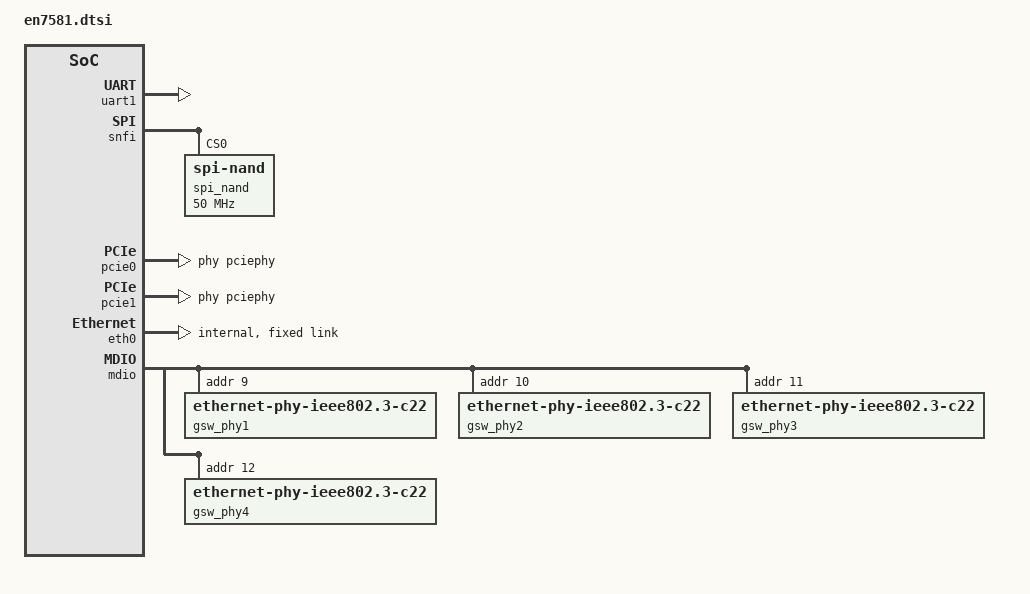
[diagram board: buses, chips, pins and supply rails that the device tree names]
// SPDX-License-Identifier: (GPL-2.0-only OR BSD-2-Clause)

#include <dt-bindings/interrupt-controller/irq.h>
#include <dt-bindings/interrupt-controller/arm-gic.h>
#include <dt-bindings/gpio/gpio.h>
#include <dt-bindings/clock/en7523-clk.h>
#include <dt-bindings/reset/airoha,en7581-reset.h>

/ {
	interrupt-parent = <&gic>;
	#address-cells = <2>;
	#size-cells = <2>;

	reserved-memory {
		#address-cells = <2>;
		#size-cells = <2>;
		ranges;

		npu-binary@84000000 {
			no-map;
			reg = <0x0 0x84000000 0x0 0xa00000>;
		};

		npu-flag@84b0000 {
			no-map;
			reg = <0x0 0x84b00000 0x0 0x100000>;
		};

		npu-pkt@85000000 {
			no-map;
			reg = <0x0 0x85000000 0x0 0x1a00000>;
		};

		npu-phyaddr@86b00000 {
			no-map;
			reg = <0x0 0x86b00000 0x0 0x100000>;
		};

		npu-rxdesc@86d00000 {
			no-map;
			reg = <0x0 0x86d00000 0x0 0x100000>;
		};
	};

	psci {
		compatible = "arm,psci-1.0";
		method = "smc";
	};

	cpus {
		#address-cells = <1>;
		#size-cells = <0>;

		cpu-map {
			cluster0 {
				core0 {
					cpu = <&cpu0>;
				};

				core1 {
					cpu = <&cpu1>;
				};

				core2 {
					cpu = <&cpu2>;
				};

				core3 {
					cpu = <&cpu3>;
				};
			};
		};

		cpu0: cpu@0 {
			device_type = "cpu";
			compatible = "arm,cortex-a53";
			reg = <0x0>;
			enable-method = "psci";
			clock-frequency = <80000000>;
			next-level-cache = <&l2>;
		};

		cpu1: cpu@1 {
			device_type = "cpu";
			compatible = "arm,cortex-a53";
			reg = <0x1>;
			enable-method = "psci";
			clock-frequency = <80000000>;
			next-level-cache = <&l2>;
		};

		cpu2: cpu@2 {
			device_type = "cpu";
			compatible = "arm,cortex-a53";
			reg = <0x2>;
			enable-method = "psci";
			clock-frequency = <80000000>;
			next-level-cache = <&l2>;
		};

		cpu3: cpu@3 {
			device_type = "cpu";
			compatible = "arm,cortex-a53";
			reg = <0x3>;
			enable-method = "psci";
			clock-frequency = <80000000>;
			next-level-cache = <&l2>;
		};

		l2: l2-cache {
			compatible = "cache";
			cache-size = <0x80000>;
			cache-line-size = <64>;
			cache-level = <2>;
			cache-unified;
		};
	};

	timer {
		compatible = "arm,armv8-timer";
		interrupt-parent = <&gic>;
		interrupts = <GIC_PPI 13 IRQ_TYPE_LEVEL_LOW>,
			     <GIC_PPI 14 IRQ_TYPE_LEVEL_LOW>,
			     <GIC_PPI 11 IRQ_TYPE_LEVEL_LOW>,
			     <GIC_PPI 10 IRQ_TYPE_LEVEL_LOW>;
	};

	soc {
		compatible = "simple-bus";
		#address-cells = <2>;
		#size-cells = <2>;
		ranges;

		gic: interrupt-controller@9000000 {
			compatible = "arm,gic-v3";
			interrupt-controller;
			#interrupt-cells = <3>;
			#address-cells = <1>;
			#size-cells = <1>;
			reg = <0x0 0x09000000 0x0 0x20000>,
			      <0x0 0x09080000 0x0 0x80000>,
			      <0x0 0x09400000 0x0 0x2000>,
			      <0x0 0x09500000 0x0 0x2000>,
			      <0x0 0x09600000 0x0 0x20000>;
			interrupts = <GIC_PPI 9 IRQ_TYPE_LEVEL_LOW>;
		};

		uart1: serial@1fbf0000 {
			compatible = "airoha,en7523-uart";
			reg = <0x0 0x1fbf0000 0x0 0x30>;
			reg-io-width = <4>;
			reg-shift = <2>;
			interrupts = <GIC_SPI 18 IRQ_TYPE_LEVEL_HIGH>;
			clock-frequency = <1843200>;
		};

		uart2: serial@1fbf0300 {
			compatible = "airoha,en7523-uart";
			reg = <0x0 0x1fbf0300 0x0 0x30>;
			reg-io-width = <4>;
			reg-shift = <2>;
			interrupts = <GIC_SPI 32 IRQ_TYPE_LEVEL_HIGH>;
			clock-frequency = <7372800>;

			status = "disabled";
		};

		hsuart3: serial@1fbe1000 {
			compatible = "airoha,en7523-uart";
			reg = <0x0 0x1fbe1000 0x0 0x40>;
			reg-io-width = <4>;
			reg-shift = <2>;
			interrupts = <GIC_SPI 54 IRQ_TYPE_LEVEL_HIGH>;
			clock-frequency = <7372800>;

			status = "disabled";
		};

		uart4: serial@1fbf0600 {
			compatible = "airoha,en7523-uart";
			reg = <0x0 0x1fbf0600 0x0 0x30>;
			reg-io-width = <4>;
			reg-shift = <2>;
			interrupts = <GIC_SPI 61 IRQ_TYPE_LEVEL_HIGH>;
			clock-frequency = <7372800>;

			status = "disabled";
		};

		uart5: serial@1fbf0700 {
			compatible = "airoha,en7523-uart";
			reg = <0x0 0x1fbf0700 0x0 0x30>;
			reg-io-width = <4>;
			reg-shift = <2>;
			interrupts = <GIC_SPI 18 IRQ_TYPE_LEVEL_HIGH>;
			clock-frequency = <7372800>;

			status = "disabled";
		};

		scuclk: clock-controller@1fa20000 {
			compatible = "airoha,en7581-scu";
			reg = <0x0 0x1fa201b4 0x0 0x5c>,
			      <0x0 0x1fb00000 0x0 0x1000>,
			      <0x0 0x1fbe3400 0x0 0xfc>;
			#clock-cells = <1>;
			#reset-cells = <1>;
		};

		pio: pinctrl {
			compatible = "airoha,en7581-pinctrl";
			reg = <0x0 0x1fa20214 0x0 0x1c>,
			      <0x0 0x1fa2001c 0x0 0x50>;
			reg-names = "mux", "conf";
		};

		i2cclock: i2cclock@0 {
			#clock-cells = <0>;
			compatible = "fixed-clock";

			/* 20 MHz */
			clock-frequency = <20000000>;
		};

		i2c0: i2c0@1fbf8000 {
			compatible = "mediatek,mt7621-i2c";
			reg = <0x0 0x1fbf8000 0x0 0x100>;

			clocks = <&i2cclock>;

			/* 400 kHz */
			clock-frequency = <400000>;
			resets = <&scuclk EN7581_I2C_MASTER_RST>;
			reset-names = "i2c0";

			#address-cells = <1>;
			#size-cells = <0>;

			status = "disable";
		};

		i2c1: i2c1@1fbf8100 {
			compatible = "mediatek,mt7621-i2c";
			reg = <0x0 0x1fbf8100 0x0 0x100>;

			clocks = <&i2cclock>;

			/* 400 kHz */
			clock-frequency = <400000>;
			resets = <&scuclk EN7581_I2C2_RST>;
			reset-names = "i2c1";

			#address-cells = <1>;
			#size-cells = <0>;

			status = "disable";
		};

		snfi: spi@1fa10000 {
			compatible = "airoha,en7581-snand";
			reg = <0x0 0x1fa10000 0x0 0x140>,
			      <0x0 0x1fa11000 0x0 0x160>;

			clocks = <&scuclk EN7523_CLK_SPI>;
			clock-names = "spi";

			#address-cells = <1>;
			#size-cells = <0>;
			spi_nand: nand@0 {
				compatible = "spi-nand";
				reg = <0>;
				spi-max-frequency = <50000000>;
				spi-tx-bus-width = <1>;
				spi-rx-bus-width = <2>;
				airoha,bmt;
				partitions {
					compatible =
						"airoha,airoha-partitions";
				};
			};
		};

		gpio0: gpio@1fbf0200 {
			compatible = "airoha,en7523-gpio";
			reg = <0 0x1fbf0204 0 0x4>,
			      <0 0x1fbf0200 0 0x4>,
			      <0 0x1fbf0220 0 0x4>,
			      <0 0x1fbf0214 0 0x4>;
			gpio-controller;
			#gpio-cells = <2>;
		};

		gpio1: gpio@1fbf0270 {
			compatible = "airoha,en7523-gpio";
			reg = <0 0x1fbf0270 0 0x4>,
			      <0 0x1fbf0260 0 0x4>,
			      <0 0x1fbf0264 0 0x4>,
			      <0 0x1fbf0278 0 0x4>;
			gpio-controller;
			#gpio-cells = <2>;
		};

		pciephy: phy@1fa5a000 {
			compatible = "airoha,en7581-pcie-phy";
			reg = <0x0 0x1fa5a000 0x0 0xfff>,
			      <0x0 0x1fa5b000 0x0 0xfff>,
			      <0x0 0x1fa5c000 0x0 0xfff>;
			reg-names = "csr-2l", "pma0", "pma1";
			#phy-cells = <0>;
		};

		pcie0: pcie@1fc00000 {
			compatible = "airoha,en7581-pcie";
			device_type = "pci";
			#address-cells = <3>;
			#size-cells = <2>;

			reg = <0x0 0x1fc00000 0x0 0x20000>;
			reg-names = "pcie-mac";

			clocks = <&scuclk EN7523_CLK_PCIE>;
			clock-names = "sys_ck0";

			phys = <&pciephy>;
			phy-names = "pcie-phy";

			ranges = <0x02000000 0 0x20000000 0x0 0x20000000 0 0x4000000>;

			resets = <&scuclk EN7581_PCIE0_RST>,
				 <&scuclk EN7581_PCIE1_RST>,
				 <&scuclk EN7581_PCIE2_RST>;
			reset-names = "phy_lane0", "phy_lane1", "phy_lane2";

			interrupts = <GIC_SPI 39 IRQ_TYPE_LEVEL_HIGH>;
			bus-range = <0x00 0xff>;
			#interrupt-cells = <1>;
			interrupt-map-mask = <0 0 0 7>;
			interrupt-map = <0 0 0 1 &pcie_intc0 1>,
					<0 0 0 2 &pcie_intc0 2>,
					<0 0 0 3 &pcie_intc0 3>,
					<0 0 0 4 &pcie_intc0 4>;
			pcie_intc0: interrupt-controller {
				interrupt-controller;
				#address-cells = <0>;
				#interrupt-cells = <1>;
			};
		};

		pcie1: pcie@1fc20000 {
			compatible = "airoha,en7581-pcie";
			device_type = "pci";
			#address-cells = <3>;
			#size-cells = <2>;

			reg = <0x0 0x1fc20000 0x0 0x20000>;
			reg-names = "pcie-mac";

			clocks = <&scuclk EN7523_CLK_PCIE>;
			clock-names = "sys_ck1";

			phys = <&pciephy>;
			phy-names = "pcie-phy";

			ranges = <0x02000000 0 0x24000000 0x0 0x24000000 0 0x4000000>;

			resets = <&scuclk EN7581_PCIE0_RST>,
				 <&scuclk EN7581_PCIE1_RST>,
				 <&scuclk EN7581_PCIE2_RST>;
			reset-names = "phy_lane0", "phy_lane1", "phy_lane2";

			interrupts = <GIC_SPI 40 IRQ_TYPE_LEVEL_HIGH>;
			bus-range = <0x00 0xff>;
			#interrupt-cells = <1>;
			interrupt-map-mask = <0 0 0 7>;
			interrupt-map = <0 0 0 1 &pcie_intc1 1>,
					<0 0 0 2 &pcie_intc1 2>,
					<0 0 0 3 &pcie_intc1 3>,
					<0 0 0 4 &pcie_intc1 4>;
			pcie_intc1: interrupt-controller {
				interrupt-controller;
				#address-cells = <0>;
				#interrupt-cells = <1>;
			};
		};

		eth0: ethernet@1fb50000 {
			compatible = "airoha,en7581-eth";
			reg = <0 0x1fb50000 0 0x2600>,
			      <0 0x1fb54000 0 0x2000>,
			      <0 0x1fb56000 0 0x2000>;
			reg-names = "fe", "qdma0", "qdma1";

			resets = <&scuclk EN7581_FE_RST>,
				 <&scuclk EN7581_FE_PDMA_RST>,
				 <&scuclk EN7581_FE_QDMA_RST>,
				 <&scuclk EN7581_XSI_MAC_RST>,
				 <&scuclk EN7581_DUAL_HSI0_MAC_RST>,
				 <&scuclk EN7581_DUAL_HSI1_MAC_RST>,
				 <&scuclk EN7581_HSI_MAC_RST>;
			reset-names = "fe", "pdma", "qdma", "xsi-mac",
				      "hsi0-mac", "hsi1-mac", "hsi-mac";

			interrupts = <GIC_SPI 37 IRQ_TYPE_LEVEL_HIGH>,
				     <GIC_SPI 55 IRQ_TYPE_LEVEL_HIGH>,
				     <GIC_SPI 56 IRQ_TYPE_LEVEL_HIGH>,
				     <GIC_SPI 57 IRQ_TYPE_LEVEL_HIGH>,
				     <GIC_SPI 38 IRQ_TYPE_LEVEL_HIGH>,
				     <GIC_SPI 58 IRQ_TYPE_LEVEL_HIGH>,
				     <GIC_SPI 59 IRQ_TYPE_LEVEL_HIGH>,
				     <GIC_SPI 60 IRQ_TYPE_LEVEL_HIGH>,
				     <GIC_SPI 49 IRQ_TYPE_LEVEL_HIGH>,
				     <GIC_SPI 64 IRQ_TYPE_LEVEL_HIGH>;

			#address-cells = <1>;
			#size-cells = <0>;

			phy-mode = "internal";
			fixed-link {
				speed = <1000>;
				full-duplex;
				pause;
			};
		};

		switch: switch@1fb58000 {
			compatible = "airoha,en7581-switch";
			reg = <0 0x1fb58000 0 0x8000>;
			resets = <&scuclk EN7581_GSW_RST>;

			interrupt-controller;
			#interrupt-cells = <1>;
			interrupt-parent = <&gic>;
			interrupts = <GIC_SPI 209 IRQ_TYPE_LEVEL_HIGH>;

			#address-cells = <1>;
			#size-cells = <1>;

			ports {
				#address-cells = <1>;
				#size-cells = <0>;

				gsw_port1: port@1 {
					reg = <1>;
					label = "lan1";
					phy-mode = "internal";
					phy-handle = <&gsw_phy1>;
				};

				gsw_port2: port@2 {
					reg = <2>;
					label = "lan2";
					phy-mode = "internal";
					phy-handle = <&gsw_phy2>;
				};

				gsw_port3: port@3 {
					reg = <3>;
					label = "lan3";
					phy-mode = "internal";
					phy-handle = <&gsw_phy3>;
				};

				gsw_port4: port@4 {
					reg = <4>;
					label = "lan4";
					phy-mode = "internal";
					phy-handle = <&gsw_phy4>;
				};

				port@6 {
					reg = <6>;
					label = "cpu";
					ethernet = <&eth0>;
					phy-mode = "internal";

					fixed-link {
						speed = <1000>;
						full-duplex;
						pause;
					};
				};
			};

			mdio {
				#address-cells = <1>;
				#size-cells = <0>;

				gsw_phy1: ethernet-phy@1 {
					compatible = "ethernet-phy-ieee802.3-c22";
					reg = <9>;
					phy-mode = "internal";
				};

				gsw_phy2: ethernet-phy@2 {
					compatible = "ethernet-phy-ieee802.3-c22";
					reg = <10>;
					phy-mode = "internal";
				};

				gsw_phy3: ethernet-phy@3 {
					compatible = "ethernet-phy-ieee802.3-c22";
					reg = <11>;
					phy-mode = "internal";
				};

				gsw_phy4: ethernet-phy@4 {
					compatible = "ethernet-phy-ieee802.3-c22";
					reg = <12>;
					phy-mode = "internal";
				};
			};
		};
	};
};
